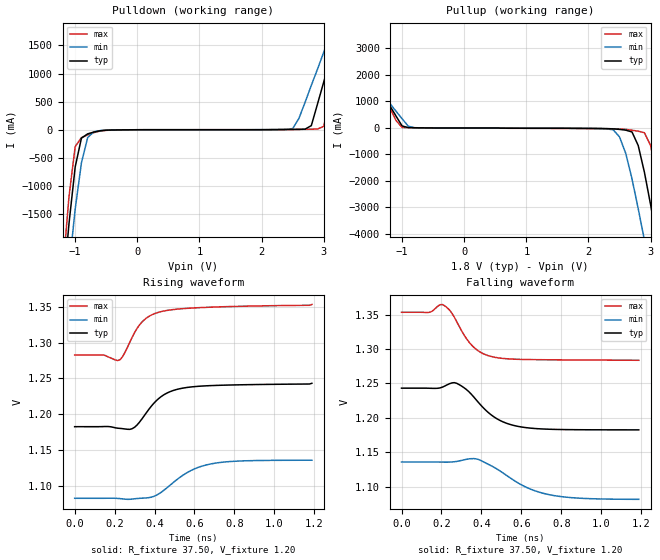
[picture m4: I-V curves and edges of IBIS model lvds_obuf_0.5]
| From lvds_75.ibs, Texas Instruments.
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|   Model lvds_obuf_0.5
[Model]   lvds_obuf_0.5
Model_type   Output
Polarity   Non-Inverting
Vmeas =   1.2000V
C_comp   4.00pF   4.00pF   4.00pF
[Temperature Range]   25.00   0.12k   -40.00
[Voltage Range]   1.80V   1.65V   1.95V
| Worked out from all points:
|   slope of the pulldown table from 0 to 0.27 V, typ, clamps not added: 570 ohm
|   slope of the pullup table from 0 to 0.27 V, typ, clamps not added: 20 kohm
|   rising waveform, R_fixture 37.50, V_fixture 1.20: 20-80 % time 134ps typ, 169ps min, 119ps max; typ from 1.18 V to 1.24 V
|   falling waveform, R_fixture 37.50, V_fixture 1.20: 20-80 % time 145ps typ, 203ps min, 106ps max; typ from 1.24 V to 1.18 V
[Pulldown]
| voltage   I(typ)   I(min)   I(max)
-1.8V     -11.13A    -11.46A    -11.46A
-1.2V     -2.91A     -3.63A     -2.51A
-1.1V     -1.67A     -2.47A     -1.19A
-1V       -660mA     -1.41A     -300mA
-900mV    -150mA     -590mA     -140mA
-700mV    -41.38mA   -36.93mA   -51.56mA
2.5V      5.81mA     20.63mA    3.93mA
2.8V      73.55mA    790mA      9.74mA
3V        850mA      1.38A      60.71mA
3.3V      2.03A      2.34A      1.54A
3.4V      2.43A      2.86A      2.04A
3.6V      3.24A      7.06A      3.05A
[Pullup]
| voltage   I(typ)   I(min)   I(max)
-1.8V     3.24A      3.32A      3.82A
-1.6V     2.42A      2.15A      2.8A
-1V       77.02mA    350mA      21.31mA
2.4V      -33.83mA   -71.44mA   -29.68mA
2.5V      -53.46mA   -340mA     -36.09mA
2.7V      -150mA     -1.92A     -84.09mA
2.9V      -1.67A     -4.23A     -180mA
3V        -2.9A      -5.46A     -660mA
3.1V      -4.22A     -6.71A     -1.82A
3.2V      -5.57A     -7.98A     -3.21A
3.3V      -6.94A     -9.28A     -4.67A
3.6V      -11.15A    -15.09A    -9.18A
[Ramp]
| variable   typ   min   max
dV/dt_r   0.24/0.14n   0.15/0.17n   0.33/0.13n
dV/dt_f   25.28m/95.79p   19.80m/0.15n   30.75m/60.25p
R_load = 37.50
[Rising Waveform]
R_fixture = 37.50
V_fixture = 1.20
V_fixture_min = 1.10
V_fixture_max = 1.30
| time   V(typ)   V(min)   V(max)
0s        1.183V     1.083V     1.283V
144ps     1.183V     1.083V     1.283V
228ps     1.18V      1.082V     1.276V
288ps     1.18V      1.082V     1.307V
336ps     1.193V     1.083V     1.328V
396ps     1.215V     1.085V     1.34V
444ps     1.227V     1.093V     1.344V
564ps     1.237V     1.119V     1.348V
684ps     1.24V      1.131V     1.35V
1.188ns   1.243V     1.136V     1.353V
[Falling Waveform]
R_fixture = 37.50
V_fixture = 1.20
V_fixture_min = 1.10
V_fixture_max = 1.30
| time   V(typ)   V(min)   V(max)
0s        1.243V     1.136V     1.353V
144ps     1.243V     1.136V     1.353V
204ps     1.245V     1.136V     1.365V
240ps     1.25V      1.136V     1.357V
288ps     1.248V     1.138V     1.333V
372ps     1.227V     1.141V     1.3V
468ps     1.201V     1.128V     1.288V
576ps     1.188V     1.107V     1.285V
732ps     1.184V     1.089V     1.284V
1.188ns   1.183V     1.082V     1.284V
